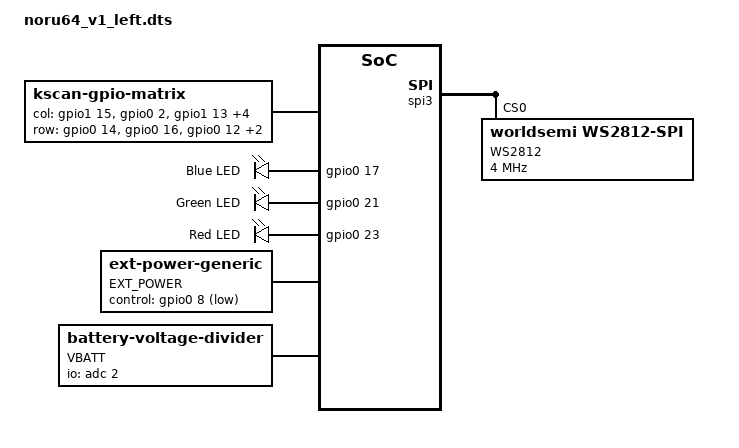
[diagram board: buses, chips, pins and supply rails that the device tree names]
/*
 * Copyright (c) 2020 Eric Lau
 *
 * SPDX-License-Identifier: MIT
 */

#include "noru64_v1.dts"
#include "noru64_v1_left_pincrtl.dtsi"

    / {
        chosen {
            zmk,underglow = &led_strip;
            zmk,battery = &vbatt;
        };
    
        kscan0: kscan_0 {
            compatible = "zmk,kscan-gpio-matrix";
            label = "KSCAN";
            diode-direction = "col2row";
    
            col-gpios
                = <&gpio1 15 GPIO_ACTIVE_HIGH>
                , <&gpio0 2  GPIO_ACTIVE_HIGH>
                , <&gpio1 13 GPIO_ACTIVE_HIGH>
                , <&gpio0 27 GPIO_ACTIVE_HIGH>
                , <&gpio0 7  GPIO_ACTIVE_HIGH>
                , <&gpio0 19 GPIO_ACTIVE_HIGH>
                , <&gpio0 25  GPIO_ACTIVE_HIGH>
                ;
    
            row-gpios
                = <&gpio0 14 (GPIO_ACTIVE_HIGH | GPIO_PULL_DOWN)>
                , <&gpio0 16 (GPIO_ACTIVE_HIGH | GPIO_PULL_DOWN)>
                , <&gpio0 12 (GPIO_ACTIVE_HIGH | GPIO_PULL_DOWN)>
                , <&gpio1 9  (GPIO_ACTIVE_HIGH | GPIO_PULL_DOWN)>
                , <&gpio0 5  (GPIO_ACTIVE_HIGH | GPIO_PULL_DOWN)>
                ;
        };
    
    	leds {
		    compatible = "gpio-leds";
		    blue_led: led_0 {
			    gpios = <&gpio0 17 GPIO_ACTIVE_HIGH>;
			    label = "Blue LED";
		    };
		    green_led: led_1 {
			    gpios = <&gpio0 21 GPIO_ACTIVE_HIGH>;
			    label = "Green LED";
		    };
		    red_led: led_2 {
			    gpios = <&gpio0 23 GPIO_ACTIVE_HIGH>;
			    label = "Red LED";
		    };
	    };

        ext-power {
             compatible = "zmk,ext-power-generic";
             label = "EXT_POWER";
             control-gpios = <&gpio0 8 GPIO_ACTIVE_LOW>;   /*0.08*/
        };
    
        vbatt: vbatt {
             compatible = "zmk,battery-voltage-divider";
             label = "VBATT";
             io-channels = <&adc 2>;
             output-ohms = <10000000>;
		     full-ohms   = <(10000000 + 4000000)>;
        };
    };

    &spi3 {
        compatible = "nordic,nrf-spim";
        status = "okay";
      
        pinctrl-0 = <&spi3_default>;
        pinctrl-1 = <&spi3_sleep>;
        pinctrl-names = "default", "sleep";
      
        led_strip: ws2812@0 {
          compatible = "worldsemi,ws2812-spi";
          label = "WS2812";
      
          /* SPI */
          reg = <0>; /* ignored, but necessary for SPI bindings */
          spi-max-frequency = <4000000>;
      
          /* WS2812 */
          chain-length = <8>; /* number of LEDs */
          spi-one-frame = <0x70>;
          spi-zero-frame = <0x40>;
          color-mapping = <LED_COLOR_ID_GREEN
                                LED_COLOR_ID_RED
                                LED_COLOR_ID_BLUE>;
        };
      };
